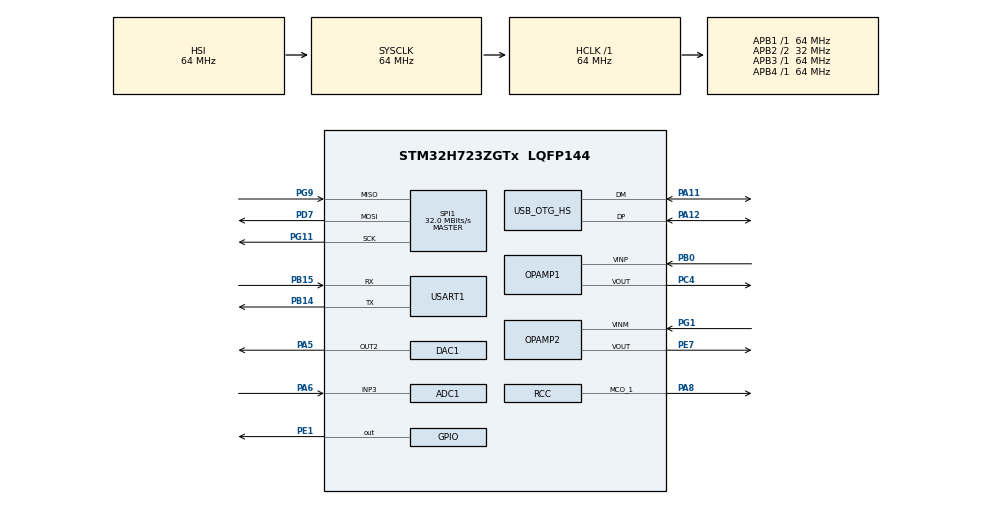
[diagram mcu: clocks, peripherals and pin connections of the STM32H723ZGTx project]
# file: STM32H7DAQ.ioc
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ADC1.Channel-1\#ChannelRegularConversion=ADC_CHANNEL_3
ADC1.ContinuousConvMode=DISABLE
ADC1.ConversionDataManagement=ADC_CONVERSIONDATA_DMA_CIRCULAR
ADC1.EOCSelection=ADC_EOC_SINGLE_CONV
ADC1.EnableAnalogWatchDog1=false
ADC1.EnableAnalogWatchDog2=false
ADC1.EnableInjectedConversion=DISABLE
ADC1.ExternalTrigConv=ADC_EXTERNALTRIG_T1_TRGO
ADC1.NbrOfConversion=1
ADC1.NbrOfConversionFlag=1
ADC1.OffsetNumber-1\#ChannelRegularConversion=ADC_OFFSET_NONE
ADC1.OffsetSignedSaturation-1\#ChannelRegularConversion=DISABLE
ADC1.Rank-1\#ChannelRegularConversion=1
ADC1.Resolution=ADC_RESOLUTION_12B
ADC1.SamplingTime-1\#ChannelRegularConversion=ADC_SAMPLETIME_32CYCLES_5
ADC1.master=1
CORTEX_M7.default_mode_Activation=1
DAC1.DAC_Channel-DAC_OUT1_Int=DAC_CHANNEL_1
DAC1.DAC_Channel-DAC_OUT2_ExtAndInt=DAC_CHANNEL_2
Dma.ADC1.0.Direction=DMA_PERIPH_TO_MEMORY
Dma.ADC1.0.EventEnable=ENABLE
Dma.ADC1.0.FIFOMode=DMA_FIFOMODE_DISABLE
Dma.ADC1.0.Instance=DMA1_Stream1
Dma.ADC1.0.MemDataAlignment=DMA_MDATAALIGN_HALFWORD
Dma.ADC1.0.MemInc=DMA_MINC_ENABLE
Dma.ADC1.0.Mode=DMA_CIRCULAR
Dma.ADC1.0.PeriphDataAlignment=DMA_PDATAALIGN_HALFWORD
Dma.ADC1.0.PeriphInc=DMA_PINC_DISABLE
Dma.ADC1.0.Polarity=HAL_DMAMUX_REQ_GEN_RISING
Dma.ADC1.0.Priority=DMA_PRIORITY_LOW
Dma.ADC1.0.RequestNumber=1
Dma.ADC1.0.SignalID=NONE
Dma.ADC1.0.SyncEnable=DISABLE
Dma.ADC1.0.SyncPolarity=HAL_DMAMUX_SYNC_NO_EVENT
Dma.ADC1.0.SyncRequestNumber=1
Dma.ADC1.0.SyncSignalID=NONE
Dma.Request0=ADC1
Mcu.Family=STM32H7
Mcu.Name=STM32H723ZGTx
Mcu.Package=LQFP144
NVIC.ADC_IRQn=true\:0\:0\:false\:false\:true\:true\:true\:true
NVIC.DMA1_Stream1_IRQn=true\:0\:0\:false\:false\:true\:false\:true\:true
NVIC.DMAMUX1_OVR_IRQn=true\:0\:0\:false\:false\:true\:false\:true\:true
NVIC.OTG_HS_IRQn=true\:0\:0\:false\:false\:true\:false\:true\:true
NVIC.PriorityGroup=NVIC_PRIORITYGROUP_4
NVIC.TIM1_TRG_COM_IRQn=true\:0\:0\:false\:false\:true\:true\:true\:true
NVIC.TIM2_IRQn=true\:0\:0\:false\:false\:true\:true\:true\:true
NVIC.TIM4_IRQn=true\:0\:0\:false\:false\:true\:true\:true\:true
OPAMP1.PowerMode=OPAMP_POWERMODE_HIGHSPEED
OPAMP2.PowerMode=OPAMP_POWERMODE_HIGHSPEED
PA11.Mode=Device_Only_FS
PA11.Signal=USB_OTG_HS_DM
PA12.Mode=Device_Only_FS
PA12.Signal=USB_OTG_HS_DP
PA13(JTMS/SWDIO).Mode=Serial_Wire
PA13(JTMS/SWDIO).Signal=DEBUG_JTMS-SWDIO
PA14(JTCK/SWCLK).Mode=Serial_Wire
PA14(JTCK/SWCLK).Signal=DEBUG_JTCK-SWCLK
PA5.Signal=COMP_DAC12_group
PA6.Signal=ADCx_INP3
PA8.Mode=Clock-out-1
PA8.Signal=RCC_MCO_1
PB0.Mode=Follower
PB0.Signal=OPAMP1_VINP
PB14.Mode=Asynchronous
PB14.Signal=USART1_TX
PB15.Mode=Asynchronous
PB15.Signal=USART1_RX
PC4.Signal=SharedAnalog_PC4
PD7.Mode=Full_Duplex_Master
PD7.Signal=SPI1_MOSI
PE1.Signal=GPIO_Output
PE7.Mode=PGA Connected-INVERTINGINPUT_IO0_BIAS-DAC_OUT2-INP
PE7.Signal=OPAMP2_VOUT
PG1.Mode=PGA Connected-INVERTINGINPUT_IO0_BIAS-DAC_OUT2-INP
PG1.Signal=OPAMP2_VINM
PG11.Mode=Full_Duplex_Master
PG11.Signal=SPI1_SCK
PG9.Mode=Full_Duplex_Master
PG9.Signal=SPI1_MISO
ProjectManager.HeapSize=0x200
ProjectManager.StackSize=0x400
ProjectManager.TargetToolchain=STM32CubeIDE
RCC.ADCFreq_Value=38400000
RCC.APB1Freq_Value=64000000
RCC.APB2Freq_Value=32000000
RCC.APB3Freq_Value=64000000
RCC.APB4Freq_Value=64000000
RCC.CortexFreq_Value=64000000
RCC.D2PPRE2=RCC_APB2_DIV2
RCC.DIVM1=1
RCC.DIVM2=1
RCC.DIVN1=48
RCC.DIVN2=48
RCC.DIVP2=5
RCC.DIVQ1=3
RCC.HCLKFreq_Value=64000000
RCC.PLL2FRACN=0
RCC.PLL3FRACN=0
RCC.PLLFRACN=0
RCC.PLLSourceVirtual=RCC_PLLSOURCE_CSI
RCC.SYSCLKFreq_VALUE=64000000
RCC.USBCLockSelection=RCC_USBCLKSOURCE_HSI48
RCC.USBFreq_Value=48000000
SH.ADCx_INP3.0=ADC1_INP3,IN3-Single-Ended
SH.COMP_DAC12_group.0=DAC1_OUT2,DAC_OUT2_ExtAndInt
SH.SharedAnalog_PC4.0=ADC1_INP4
SH.SharedAnalog_PC4.1=OPAMP1_VOUT,Follower
SPI1.CalculateBaudRate=32.0 MBits/s
SPI1.Direction=SPI_DIRECTION_2LINES
SPI1.Mode=SPI_MODE_MASTER
SPI1.VirtualType=VM_MASTER
TIM1.AutoReloadPreload=TIM_AUTORELOAD_PRELOAD_ENABLE
TIM1.Period=40-1
TIM1.Prescaler=80-1
TIM1.TIM_MasterOutputTrigger=TIM_TRGO_UPDATE
TIM1.TIM_MasterOutputTrigger2=TIM_TRGO2_ENABLE
TIM2.AutoReloadPreload=TIM_AUTORELOAD_PRELOAD_ENABLE
TIM2.Period=1
TIM2.Prescaler=8-1
TIM2.TIM_MasterOutputTrigger=TIM_TRGO_UPDATE
TIM4.AutoReloadPreload=TIM_AUTORELOAD_PRELOAD_ENABLE
TIM4.Period=2000
TIM4.Prescaler=8-1
TIM4.TIM_MasterOutputTrigger=TIM_TRGO_UPDATE
USART1.VirtualMode-Asynchronous=VM_ASYNC
USB_DEVICE.CLASS_NAME_HS=CDC
USB_DEVICE.USBD_DEBUG_LEVEL=3
USB_DEVICE.VirtualMode=Cdc
USB_DEVICE.VirtualModeHS=Cdc_HS
USB_OTG_HS.VirtualMode-Device_Only_FS=Device_Only_FS
VP_DAC1_VS_DACI1.Mode=DAC_OUT1_Int
VP_FMAC_VS_FMAC.Mode=FMAC_Activate
VP_MEMORYMAP_VS_MEMORYMAP.Mode=CurAppReg
VP_RCC_USB.Mode=USB_HS
VP_TIM12_VS_ClockSourceITR.Mode=TriggerSource_ITR0
VP_TIM12_VS_ControllerModeClock.Mode=Clock Mode
VP_TIM1_VS_ClockSourceINT.Mode=Internal
VP_TIM2_VS_ClockSourceINT.Mode=Internal
VP_TIM4_VS_ClockSourceINT.Mode=Internal
VP_USB_DEVICE_VS_USB_DEVICE_CDC_HS.Mode=CDC_HS
VREF+.Mode=InternalMode
VREF+.Signal=VREFBUF_OUT
board=custom

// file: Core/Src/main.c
/* USER CODE BEGIN Header */
/**
  ******************************************************************************
  * @file           : main.c
  * @brief          : Main program body
  ******************************************************************************
  * @attention
  *
  * Copyright (c) 2025 STMicroelectronics.
  * All rights reserved.
  *
  * This software is licensed under terms that can be found in the LICENSE file
  * in the root directory of this software component.
  * If no LICENSE file comes with this software, it is provided AS-IS.
  *
  ******************************************************************************
  */
/* USER CODE END Header */
#include "main.h"
#include "usb_device.h"

/* USER CODE BEGIN Includes */
#include "adc.h"
#include "dac.h"
#include "gpio.h"
#include "opamp.h"
#include "rcc.h"
#include "spi.h"
#include "system.h"
#include "timer.h"
#include "uart.h"
#include "usb_vcp.h"

#include "ada4254.h"
#include "analogIn.h"
#include "commandInterpreter.h"
#include "opcodes.h"
#include "pinMaping.h"
/* USER CODE END Includes */

/* USER CODE BEGIN PTD */
/*__attribute__((section(".ram2")))  DMA_BUFFER*/volatile AnalogOutCHStruct analogOutAChannels[2];
/*__attribute__((section(".ram2")))  DMA_BUFFER*/volatile AnalogOutCHStruct analogOutBChannels[2];
extern AnalogInCHStruct analogInAChannels[8];
extern AnalogInCHStruct analogInBChannels[8];
/* USER CODE END PTD */

ADC_HandleTypeDef hadc1;
DMA_HandleTypeDef hdma_adc1;

DAC_HandleTypeDef hdac1;

FMAC_HandleTypeDef hfmac;

OPAMP_HandleTypeDef hopamp1;
OPAMP_HandleTypeDef hopamp2;

SPI_HandleTypeDef hspi1;

TIM_HandleTypeDef htim1;
TIM_HandleTypeDef htim2;
TIM_HandleTypeDef htim4;
TIM_HandleTypeDef htim12;

UART_HandleTypeDef huart1;

/* USER CODE BEGIN PV */
int isADCFinished = 0;
int sampleCounter = 0;
uint16_t packetCounter = 0;

uint16_t ADC_VAL[4];

/* USER CODE END PV */

void SystemClock_Config(void);
static void MPU_Config(void);
static void MX_GPIO_Init(void);
static void MX_DMA_Init(void);
static void MX_ADC1_Init(void);
static void MX_SPI1_Init(void);
static void MX_TIM12_Init(void);
static void MX_FMAC_Init(void);
static void MX_TIM1_Init(void);
static void MX_TIM2_Init(void);
static void MX_TIM4_Init(void);
static void MX_DAC1_Init(void);
static void MX_OPAMP2_Init(void);
static void MX_USART1_UART_Init(void);
static void MX_OPAMP1_Init(void);
/* USER CODE BEGIN PFP */
static void ADC_Calibrate(ADC_HandleTypeDef* hadc);
/* USER CODE END PFP */

/* USER CODE BEGIN 0 */

/*
void HAL_ADC_ConvCpltCallback(ADC_HandleTypeDef* hadc)
{
	if (sampleCounter >= 1000) {
		HAL_GPIO_TogglePin(GPIOE, GPIO_PIN_1);
		sampleCounter = 0;
	}
	if (hadc==&hadc1) {
		AnalogInHandler(ANALOG_IN_BLOCK_A);
	}
	sampleCounter++;
	//HAL_ADC_Stop_IT(&hadc1);
	//printf("Done");

} */

void HAL_DAC_ErrorCallbackCh1(DAC_HandleTypeDef *hdac)
{
	HAL_GPIO_TogglePin(GPIOB, GPIO_PIN_0);
}

/**
  * @brief	This function initializes the Analog OUT Channel:
  * 		- Initialize structures
  * 		- Initializes DAC DMA Channels
  * @param	None
  * @return	None
  */

void AnalogOutInit() {

	uint16_t i;
	for(i = 0; i < ANALOG_OUT_BUFFER_SIZE; i++) {
		analogOutAChannels[0].buffer[i] = 2048;
		analogOutAChannels[1].buffer[i] = 2048;
		analogOutBChannels[0].buffer[i] = 2048;
		analogOutBChannels[1].buffer[i] = 2048;
	}

	analogOutAChannels[0].bufferLength = 1;
	analogOutAChannels[1].bufferLength = 1;
	analogOutBChannels[0].bufferLength = 1;
	analogOutBChannels[1].bufferLength = 1;

}

/**
  * @brief	This function sets an Analog OUT Channel
  * @param	anBlock: Which analog block, A or B
  * @param	channel: Which channel to configure
  * @param	config: The configuration for the analog OUT channel, AnalogOutCHStruct
  * @return	None
  */
void AnalogOutConfigChannel(uint8_t anBlock, uint8_t channel, AnalogOutCHStruct config) {

	if(anBlock == ANALOG_OUT_BLOCK_A) {
		// Early return if freq = 0. Stops a divide by 0 error
		analogOutAChannels[channel - 1] = config;

		if(channel == 0x01) {
			if (config.frequency==0)
			{
				if (LL_DAC_IsEnabled(DAC1, LL_DAC_CHANNEL_1)==1) HAL_DAC_Stop_DMA(&hdac1, DAC_CHANNEL_1);
				return;
			}
			TIM2SetFreq(config.frequency);
			if (LL_DAC_IsEnabled(DAC1, LL_DAC_CHANNEL_1)==0)
			{
				HAL_DAC_Start_DMA(&hdac1, DAC_CHANNEL_1, (uint32_t) &analogOutAChannels[0].buffer, analogOutAChannels[0].bufferLength, DAC_ALIGN_12B_R);
			}
		}
		else if(channel == 0x02) {
			if (config.frequency==0)
			{
				if (LL_DAC_IsEnabled(DAC1, LL_DAC_CHANNEL_2)==1) HAL_DAC_Stop_DMA(&hdac1, DAC_CHANNEL_2);
				return;
			}
			TIM4SetFreq(config.frequency);
			if (LL_DAC_IsEnabled(DAC1, LL_DAC_CHANNEL_1)==0)
			{
				HAL_DAC_Start_DMA(&hdac1, DAC_CHANNEL_2, (uint32_t) &analogOutAChannels[1].buffer, analogOutAChannels[1].bufferLength, DAC_ALIGN_12B_R);
			}
		}
	}
}

//void HAL_DAC_ConvCpltCallbackCh1(DAC_HandleTypeDef *hdac)
//{
//	HAL_GPIO_TogglePin(GPIOB, GPIO_PIN_0);
//
//}
/* USER CODE END 0 */

int main(void)
{

  /* MPU Configuration--------------------------------------------------------*/
  MPU_Config();

  /* MCU Configuration--------------------------------------------------------*/

  /* Reset of all peripherals, Initializes the Flash interface and the Systick. */
  HAL_Init();

  /* Configure the system clock */
  SystemClock_Config();

  /* USER CODE BEGIN SysInit */
  //USBVCPInit();
  /* USER CODE END SysInit */

  /* Initialize all configured peripherals */
  MX_GPIO_Init();
  MX_DMA_Init();
  MX_USB_DEVICE_Init();
  MX_ADC1_Init();
  MX_SPI1_Init();
  MX_TIM12_Init();
  MX_FMAC_Init();
  MX_TIM1_Init();
  MX_TIM2_Init();
  MX_TIM4_Init();
  MX_DAC1_Init();
  MX_OPAMP2_Init();
  MX_USART1_UART_Init();
  MX_OPAMP1_Init();
  /* USER CODE BEGIN 2 */
  //Configure the system clock
  //BSP_LED_Init(LED_GREEN);
  //BSP_LED_Init(LED_YELLOW);
  //BSP_LED_Init(LED_RED);
  //HAL_GPIO_WritePin(GPIOB, GPIO_PIN_14, GPIO_PIN_RESET);
  //SystemClockInit();
  	//SystemTickInit();

  	//Initialize all configured peripherals
  	//GPIOInit();
  	//USBVCPInit();
  	//SystemVrefEnable(VRef_2048);

  	//------------------------------------------//
  	//			Init Digital Block				//
  	//------------------------------------------//
  	//TIM1Init();

  	//------------------------------------------//
  	//			Init Analog Block A				//
  	//------------------------------------------//
  	//Init SPI for Analog A Block
  	//SPI1Init();

  	//Init ADC and ADC trigger Timer
  	//TIM8Init();
  	//ADC1Init();

  	//Init DAC and DAC trigger Timer
  	//TIM6Init();
  	//TIM4Init();
  	//DAC1Init();

  	//Start ADC Conversions
  	//ADC1Start();
  	//------------------------------------------//

  	//------------------------------------------//
  	//			Init Analog Block B				//
  	//------------------------------------------//
  	//Init SPI for Analog B Block
  	//SPI3Init();

  	//Init ADC and ADC trigger Timer
  	//TIM3Init();
  	//ADC2Init();

  	//Init DAC and DAC trigger Timer
  	//TIM7Init();
  	//TIM15Init();
  	//DAC4Init();
  	//OpAmp4Init();
  	//OpAmp5Init();

  	//Start ADC Conversions
  	//ADC2Start();
  	//------------------------------------------//

  	//Possible Init External peripheral interfaces
  //	SPI2Init();		//SPI to External Interface
  //	UART1Init();

  	//Give time for all to init, ADA4254 auto-calibration for example
  	Delay(1000);

  	HAL_TIM_Base_Start(&htim1);
  	HAL_TIM_Base_Start(&htim2);
  	HAL_TIM_Base_Start(&htim4);
  	HAL_ADC_Start_DMA(&hadc1, (uint32_t*)analogInAChannels[0].buffer, ANALOG_OUT_BUFFER_SIZE);
  	HAL_ADC_Start_IT(&hadc1);
  	HAL_OPAMP_Start(&hopamp2);

  	//HAL_DAC_Start(&hdac1, DAC_CHANNEL_1);
  	//HAL_DAC_SetValue(&hdac1, DAC_CHANNEL_1, DAC_ALIGN_12B_R, 1000);

  	//ADC_Calibrate(&hadc1);
  	//Init Analog Channels
  	AnalogInInit();
  	AnalogOutInit();

  	//Init Digital Channels
  	//DigitalIOInit();

  	uint8_t isVCPConnected = 0;
  	uint8_t txUSBData[2060];
  	uint16_t rxLength;
  	uint8_t rxUSBData[2060];
  /* USER CODE END 2 */

  /* Infinite loop */
  while (1)
  {

    /* USER CODE BEGIN 3 */
	  //USB/AT Command Interpreter
	  		if(USBVCPRead(&rxUSBData[0], &rxLength) == 1) {
	  			CommandInterpreter(rxUSBData, rxLength, &hadc1, &htim1);
	  		}

	  		//This Sets the LED1 to the Virtual COM Connection state, LED is ON if connected
	  		if(USBVCPIsConnected()) {
	  			if(isVCPConnected == 0) {
	  				//First Connection, write welcome message
	  				isVCPConnected = 1;
	  				//HAL_GPIO_WritePin(GPIOB, GPIO_PIN_0, GPIO_PIN_SET);
	  			}
	  		}
	  		else {
	  			isVCPConnected = 0;
	  			//HAL_GPIO_WritePin(GPIOB, GPIO_PIN_0, GPIO_PIN_RESET);
	  		}
	  		GPIOWrite(GPIO_OUT_STATUS_LED, USBVCPIsConnected());

	  		//Check if USB TX is ready for new data
	  		if(USBVCPTXStatus() == 0x00) {
	  			//DAQ Command Packet format
	  			//[Opcode]  [Length]   [Payload]  [...]     [CRC]
	  			//[uin8_t] [uint16_t] [uint8_t * Length] [uint16_t]

	  			//DAQ Data Packet, Payload field:
	  			//[Channel]          [Samples]
	  			//[uint8_t] [uint8_t * 2 * (Length - 1)]

	  			uint16_t txUSBDataIndex = 0;
	  			uint8_t channel = 1;
	  			for(channel = 1; channel < 9; channel++) {
	  				uint16_t dataLength = AnalogInGetData(ANALOG_IN_BLOCK_A, channel, &txUSBData[txUSBDataIndex + 4], hadc1);
	  				if(dataLength != 0x00) {
	  					txUSBData[txUSBDataIndex++] = OPCODE_TX_ANALOG_IN_A;	//Set Opcode

	  					dataLength += 1;	//Add Channel indicator to payload length
	  					txUSBData[txUSBDataIndex++] = (dataLength >> 8);		//Set Packet Length
	  					txUSBData[txUSBDataIndex++] = (dataLength);				//Set Packet Length
	  					txUSBData[txUSBDataIndex++] = channel;					//Set Analog In Channel

	  					//Add payload
	  					txUSBDataIndex += dataLength;

	  					if (channel == 1) {
	  						// Add packetCounter in CRC
	  						txUSBData[txUSBDataIndex-1] = (packetCounter >> 8);
	  						txUSBDataIndex++;
	  						txUSBData[txUSBDataIndex-1] = (packetCounter);
	  						txUSBDataIndex++;
	  						packetCounter++;
	  					} else {

	  						//Add CRC
	  						txUSBData[txUSBDataIndex++] = 0x00;
	  						txUSBData[txUSBDataIndex++] = 0x00;
	  					}
	  				}

	  				dataLength = AnalogInGetData(ANALOG_IN_BLOCK_B, channel, &txUSBData[txUSBDataIndex + 4], hadc1);
	  				if(dataLength != 0x00) {
	  					txUSBData[txUSBDataIndex++] = OPCODE_TX_ANALOG_IN_B;	//Set Opcode

	  					dataLength += 1;	//Add Channel indicator to payload length
	  					txUSBData[txUSBDataIndex++] = (dataLength >> 8);		//Set Packet Length
	  					txUSBData[txUSBDataIndex++] = (dataLength);				//Set Packet Length
	  					txUSBData[txUSBDataIndex++] = channel;					//Set Analog In Channel

	  					//Add payload
	  					txUSBDataIndex += dataLength;

	  					//Add CRC
	  					txUSBData[txUSBDataIndex++] = 0x00;
	  					txUSBData[txUSBDataIndex++] = 0x00;
	  				}
	  			}

	  			if(txUSBDataIndex > 1) {
	  				USBVCPWrite(txUSBData, txUSBDataIndex);
	  			}
	  		}
  }
  /* USER CODE END 3 */
}

void SystemClock_Config(void)
{
  RCC_OscInitTypeDef RCC_OscInitStruct = {0};
  RCC_ClkInitTypeDef RCC_ClkInitStruct = {0};
  RCC_CRSInitTypeDef RCC_CRSInitStruct = {0};

  /** Supply configuration update enable
  */
  HAL_PWREx_ConfigSupply(PWR_LDO_SUPPLY);

  /** Configure the main internal regulator output voltage
  */
  __HAL_PWR_VOLTAGESCALING_CONFIG(PWR_REGULATOR_VOLTAGE_SCALE3);

  while(!__HAL_PWR_GET_FLAG(PWR_FLAG_VOSRDY)) {}

  /** Initializes the RCC Oscillators according to the specified parameters
  * in the RCC_OscInitTypeDef structure.
  */
  RCC_OscInitStruct.OscillatorType = RCC_OSCILLATORTYPE_HSI48|RCC_OSCILLATORTYPE_CSI
                              |RCC_OSCILLATORTYPE_HSI;
  RCC_OscInitStruct.HSIState = RCC_HSI_DIV1;
  RCC_OscInitStruct.HSICalibrationValue = 64;
  RCC_OscInitStruct.HSI48State = RCC_HSI48_ON;
  RCC_OscInitStruct.CSIState = RCC_CSI_ON;
  RCC_OscInitStruct.CSICalibrationValue = 16;
  RCC_OscInitStruct.PLL.PLLState = RCC_PLL_ON;
  RCC_OscInitStruct.PLL.PLLSource = RCC_PLLSOURCE_CSI;
  RCC_OscInitStruct.PLL.PLLM = 1;
  RCC_OscInitStruct.PLL.PLLN = 48;
  RCC_OscInitStruct.PLL.PLLP = 2;
  RCC_OscInitStruct.PLL.PLLQ = 3;
  RCC_OscInitStruct.PLL.PLLR = 2;
  RCC_OscInitStruct.PLL.PLLRGE = RCC_PLL1VCIRANGE_2;
  RCC_OscInitStruct.PLL.PLLVCOSEL = RCC_PLL1VCOWIDE;
  RCC_OscInitStruct.PLL.PLLFRACN = 0;
  if (HAL_RCC_OscConfig(&RCC_OscInitStruct) != HAL_OK)
  {
    Error_Handler();
  }

  /** Initializes the CPU, AHB and APB buses clocks
  */
  RCC_ClkInitStruct.ClockType = RCC_CLOCKTYPE_HCLK|RCC_CLOCKTYPE_SYSCLK
                              |RCC_CLOCKTYPE_PCLK1|RCC_CLOCKTYPE_PCLK2
                              |RCC_CLOCKTYPE_D3PCLK1|RCC_CLOCKTYPE_D1PCLK1;
  RCC_ClkInitStruct.SYSCLKSource = RCC_SYSCLKSOURCE_HSI;
  RCC_ClkInitStruct.SYSCLKDivider = RCC_SYSCLK_DIV1;
  RCC_ClkInitStruct.AHBCLKDivider = RCC_HCLK_DIV1;
  RCC_ClkInitStruct.APB3CLKDivider = RCC_APB3_DIV1;
  RCC_ClkInitStruct.APB1CLKDivider = RCC_APB1_DIV1;
  RCC_ClkInitStruct.APB2CLKDivider = RCC_APB2_DIV2;
  RCC_ClkInitStruct.APB4CLKDivider = RCC_APB4_DIV1;

  if (HAL_RCC_ClockConfig(&RCC_ClkInitStruct, FLASH_LATENCY_1) != HAL_OK)
  {
    Error_Handler();
  }
  HAL_RCC_MCOConfig(RCC_MCO1, RCC_MCO1SOURCE_HSI, RCC_MCODIV_1);

  /** Enable the SYSCFG APB clock
  */
  __HAL_RCC_CRS_CLK_ENABLE();

  /** Configures CRS
  */
  RCC_CRSInitStruct.Prescaler = RCC_CRS_SYNC_DIV1;
  RCC_CRSInitStruct.Source = RCC_CRS_SYNC_SOURCE_USB2;
  RCC_CRSInitStruct.Polarity = RCC_CRS_SYNC_POLARITY_RISING;
  RCC_CRSInitStruct.ReloadValue = __HAL_RCC_CRS_RELOADVALUE_CALCULATE(48000000,1000);
  RCC_CRSInitStruct.ErrorLimitValue = 34;
  RCC_CRSInitStruct.HSI48CalibrationValue = 32;

  HAL_RCCEx_CRSConfig(&RCC_CRSInitStruct);
}

static void MX_ADC1_Init(void)
{

  ADC_MultiModeTypeDef multimode = {0};
  ADC_ChannelConfTypeDef sConfig = {0};

  /* USER CODE BEGIN ADC1_Init 1 */
  /*
  hadc3.Instance = ADC3;
  hadc3.Init.ClockPrescaler = ADC_CLOCK_ASYNC_DIV1;
  hadc3.Init.Resolution = ADC_RESOLUTION_12B;
  hadc3.Init.DataAlign = ADC3_DATAALIGN_RIGHT;
  hadc3.Init.ScanConvMode = ADC_SCAN_DISABLE;
  hadc3.Init.EOCSelection = ADC_EOC_SINGLE_CONV;
  hadc3.Init.LowPowerAutoWait = DISABLE;
  hadc3.Init.ContinuousConvMode = DISABLE;
  hadc3.Init.NbrOfConversion = 1;
  hadc3.Init.DiscontinuousConvMode = DISABLE;
  hadc3.Init.ExternalTrigConv = ADC_EXTERNALTRIG_T4_TRGO;
  hadc3.Init.ExternalTrigConvEdge = ADC_EXTERNALTRIGCONVEDGE_RISING;
  hadc3.Init.DMAContinuousRequests = ENABLE;
  hadc3.Init.SamplingMode = ADC_SAMPLING_MODE_NORMAL;
  hadc3.Init.ConversionDataManagement = ADC_CONVERSIONDATA_DMA_CIRCULAR;
  hadc3.Init.Overrun = ADC_OVR_DATA_PRESERVED;
  hadc3.Init.LeftBitShift = ADC_LEFTBITSHIFT_NONE;
  hadc3.Init.OversamplingMode = DISABLE;
  hadc3.Init.Oversampling.Ratio = ADC3_OVERSAMPLING_RATIO_2;
  if (HAL_ADC_Init(&hadc3) != HAL_OK)
  {
    Error_Handler();
  } */
  /* USER CODE END ADC1_Init 1 */

  /** Common config
  */
  hadc1.Instance = ADC1;
  hadc1.Init.ClockPrescaler = ADC_CLOCK_ASYNC_DIV1;
  hadc1.Init.Resolution = ADC_RESOLUTION_12B;
  hadc1.Init.ScanConvMode = ADC_SCAN_DISABLE;
  hadc1.Init.EOCSelection = ADC_EOC_SINGLE_CONV;
  hadc1.Init.LowPowerAutoWait = DISABLE;
  hadc1.Init.ContinuousConvMode = DISABLE;
  hadc1.Init.NbrOfConversion = 1;
  hadc1.Init.DiscontinuousConvMode = DISABLE;
  hadc1.Init.ExternalTrigConv = ADC_EXTERNALTRIG_T1_TRGO;
  hadc1.Init.ExternalTrigConvEdge = ADC_EXTERNALTRIGCONVEDGE_RISING;
  hadc1.Init.ConversionDataManagement = ADC_CONVERSIONDATA_DMA_CIRCULAR;
  hadc1.Init.Overrun = ADC_OVR_DATA_PRESERVED;
  hadc1.Init.LeftBitShift = ADC_LEFTBITSHIFT_NONE;
  hadc1.Init.OversamplingMode = DISABLE;
  hadc1.Init.Oversampling.Ratio = 1;
  if (HAL_ADC_Init(&hadc1) != HAL_OK)
  {
    Error_Handler();
  }

  /** Configure the ADC multi-mode
  */
  multimode.Mode = ADC_MODE_INDEPENDENT;
  if (HAL_ADCEx_MultiModeConfigChannel(&hadc1, &multimode) != HAL_OK)
  {
    Error_Handler();
  }

  /** Configure Regular Channel
  */
  sConfig.Channel = ADC_CHANNEL_3;
  sConfig.Rank = ADC_REGULAR_RANK_1;
  sConfig.SamplingTime = ADC_SAMPLETIME_32CYCLES_5;
  sConfig.SingleDiff = ADC_SINGLE_ENDED;
  sConfig.OffsetNumber = ADC_OFFSET_NONE;
  sConfig.Offset = 0;
  sConfig.OffsetSignedSaturation = DISABLE;
  if (HAL_ADC_ConfigChannel(&hadc1, &sConfig) != HAL_OK)
  {
    Error_Handler();
  }

}

static void MX_DAC1_Init(void)
{

  DAC_ChannelConfTypeDef sConfig = {0};

  /** DAC Initialization
  */
  hdac1.Instance = DAC1;
  if (HAL_DAC_Init(&hdac1) != HAL_OK)
  {
    Error_Handler();
  }

  /** DAC channel OUT1 config
  */
  sConfig.DAC_SampleAndHold = DAC_SAMPLEANDHOLD_DISABLE;
  sConfig.DAC_Trigger = DAC_TRIGGER_NONE;
  sConfig.DAC_OutputBuffer = DAC_OUTPUTBUFFER_DISABLE;
  sConfig.DAC_ConnectOnChipPeripheral = DAC_CHIPCONNECT_ENABLE;
  sConfig.DAC_UserTrimming = DAC_TRIMMING_FACTORY;
  if (HAL_DAC_ConfigChannel(&hdac1, &sConfig, DAC_CHANNEL_1) != HAL_OK)
  {
    Error_Handler();
  }

  /** DAC channel OUT2 config
  */
  sConfig.DAC_OutputBuffer = DAC_OUTPUTBUFFER_ENABLE;
  if (HAL_DAC_ConfigChannel(&hdac1, &sConfig, DAC_CHANNEL_2) != HAL_OK)
  {
    Error_Handler();
  }

}

static void MX_FMAC_Init(void)
{

  hfmac.Instance = FMAC;
  if (HAL_FMAC_Init(&hfmac) != HAL_OK)
  {
    Error_Handler();
  }

}

static void MX_OPAMP1_Init(void)
{

  hopamp1.Instance = OPAMP1;
  hopamp1.Init.Mode = OPAMP_FOLLOWER_MODE;
  hopamp1.Init.NonInvertingInput = OPAMP_NONINVERTINGINPUT_IO0;
  hopamp1.Init.PowerMode = OPAMP_POWERMODE_HIGHSPEED;
  hopamp1.Init.UserTrimming = OPAMP_TRIMMING_FACTORY;
  if (HAL_OPAMP_Init(&hopamp1) != HAL_OK)
  {
    Error_Handler();
  }

}

static void MX_OPAMP2_Init(void)
{

  hopamp2.Instance = OPAMP2;
  hopamp2.Init.Mode = OPAMP_PGA_MODE;
  hopamp2.Init.NonInvertingInput = OPAMP_NONINVERTINGINPUT_DAC_CH;
  hopamp2.Init.PowerMode = OPAMP_POWERMODE_HIGHSPEED;
  hopamp2.Init.PgaConnect = OPAMP_PGA_CONNECT_INVERTINGINPUT_IO0_BIAS;
  hopamp2.Init.PgaGain = OPAMP_PGA_GAIN_2_OR_MINUS_1;
  hopamp2.Init.UserTrimming = OPAMP_TRIMMING_FACTORY;
  if (HAL_OPAMP_Init(&hopamp2) != HAL_OK)
  {
    Error_Handler();
  }

}

static void MX_SPI1_Init(void)
{

  /* SPI1 parameter configuration*/
  hspi1.Instance = SPI1;
  hspi1.Init.Mode = SPI_MODE_MASTER;
  hspi1.Init.Direction = SPI_DIRECTION_2LINES;
  hspi1.Init.DataSize = SPI_DATASIZE_4BIT;
  hspi1.Init.CLKPolarity = SPI_POLARITY_LOW;
  hspi1.Init.CLKPhase = SPI_PHASE_1EDGE;
  hspi1.Init.NSS = SPI_NSS_SOFT;
  hspi1.Init.BaudRatePrescaler = SPI_BAUDRATEPRESCALER_2;
  hspi1.Init.FirstBit = SPI_FIRSTBIT_MSB;
  hspi1.Init.TIMode = SPI_TIMODE_DISABLE;
  hspi1.Init.CRCCalculation = SPI_CRCCALCULATION_DISABLE;
  hspi1.Init.CRCPolynomial = 0x0;
  hspi1.Init.NSSPMode = SPI_NSS_PULSE_ENABLE;
  hspi1.Init.NSSPolarity = SPI_NSS_POLARITY_LOW;
  hspi1.Init.FifoThreshold = SPI_FIFO_THRESHOLD_01DATA;
  hspi1.Init.TxCRCInitializationPattern = SPI_CRC_INITIALIZATION_ALL_ZERO_PATTERN;
  hspi1.Init.RxCRCInitializationPattern = SPI_CRC_INITIALIZATION_ALL_ZERO_PATTERN;
  hspi1.Init.MasterSSIdleness = SPI_MASTER_SS_IDLENESS_00CYCLE;
  hspi1.Init.MasterInterDataIdleness = SPI_MASTER_INTERDATA_IDLENESS_00CYCLE;
  hspi1.Init.MasterReceiverAutoSusp = SPI_MASTER_RX_AUTOSUSP_DISABLE;
  hspi1.Init.MasterKeepIOState = SPI_MASTER_KEEP_IO_STATE_DISABLE;
  hspi1.Init.IOSwap = SPI_IO_SWAP_DISABLE;
  if (HAL_SPI_Init(&hspi1) != HAL_OK)
  {
    Error_Handler();
  }

}

static void MX_TIM1_Init(void)
{

  TIM_ClockConfigTypeDef sClockSourceConfig = {0};
  TIM_MasterConfigTypeDef sMasterConfig = {0};

  htim1.Instance = TIM1;
  htim1.Init.Prescaler = 80-1;
  htim1.Init.CounterMode = TIM_COUNTERMODE_UP;
  htim1.Init.Period = 40-1;
  htim1.Init.ClockDivision = TIM_CLOCKDIVISION_DIV1;
  htim1.Init.RepetitionCounter = 0;
  htim1.Init.AutoReloadPreload = TIM_AUTORELOAD_PRELOAD_ENABLE;
  if (HAL_TIM_Base_Init(&htim1) != HAL_OK)
  {
    Error_Handler();
  }
  sClockSourceConfig.ClockSource = TIM_CLOCKSOURCE_INTERNAL;
  if (HAL_TIM_ConfigClockSource(&htim1, &sClockSourceConfig) != HAL_OK)
  {
    Error_Handler();
  }
  sMasterConfig.MasterOutputTrigger = TIM_TRGO_UPDATE;
  sMasterConfig.MasterOutputTrigger2 = TIM_TRGO2_ENABLE;
  sMasterConfig.MasterSlaveMode = TIM_MASTERSLAVEMODE_DISABLE;
  if (HAL_TIMEx_MasterConfigSynchronization(&htim1, &sMasterConfig) != HAL_OK)
  {
    Error_Handler();
  }

}

static void MX_TIM2_Init(void)
{

  TIM_ClockConfigTypeDef sClockSourceConfig = {0};
  TIM_MasterConfigTypeDef sMasterConfig = {0};

  htim2.Instance = TIM2;
  htim2.Init.Prescaler = 8-1;
  htim2.Init.CounterMode = TIM_COUNTERMODE_UP;
  htim2.Init.Period = 1;
  htim2.Init.ClockDivision = TIM_CLOCKDIVISION_DIV1;
  htim2.Init.AutoReloadPreload = TIM_AUTORELOAD_PRELOAD_ENABLE;
  if (HAL_TIM_Base_Init(&htim2) != HAL_OK)
  {
    Error_Handler();
  }
  sClockSourceConfig.ClockSource = TIM_CLOCKSOURCE_INTERNAL;
  if (HAL_TIM_ConfigClockSource(&htim2, &sClockSourceConfig) != HAL_OK)
  {
    Error_Handler();
  }
  sMasterConfig.MasterOutputTrigger = TIM_TRGO_UPDATE;
  sMasterConfig.MasterSlaveMode = TIM_MASTERSLAVEMODE_DISABLE;
  if (HAL_TIMEx_MasterConfigSynchronization(&htim2, &sMasterConfig) != HAL_OK)
  {
    Error_Handler();
  }

}

static void MX_TIM4_Init(void)
{

  TIM_ClockConfigTypeDef sClockSourceConfig = {0};
  TIM_MasterConfigTypeDef sMasterConfig = {0};

  htim4.Instance = TIM4;
  htim4.Init.Prescaler = 8-1;
  htim4.Init.CounterMode = TIM_COUNTERMODE_UP;
  htim4.Init.Period = 2000;
  htim4.Init.ClockDivision = TIM_CLOCKDIVISION_DIV1;
  htim4.Init.AutoReloadPreload = TIM_AUTORELOAD_PRELOAD_ENABLE;
  if (HAL_TIM_Base_Init(&htim4) != HAL_OK)
  {
    Error_Handler();
  }
  sClockSourceConfig.ClockSource = TIM_CLOCKSOURCE_INTERNAL;
  if (HAL_TIM_ConfigClockSource(&htim4, &sClockSourceConfig) != HAL_OK)
  {
    Error_Handler();
  }
  sMasterConfig.MasterOutputTrigger = TIM_TRGO_UPDATE;
  sMasterConfig.MasterSlaveMode = TIM_MASTERSLAVEMODE_DISABLE;
  if (HAL_TIMEx_MasterConfigSynchronization(&htim4, &sMasterConfig) != HAL_OK)
  {
    Error_Handler();
  }

}

static void MX_TIM12_Init(void)
{

  TIM_SlaveConfigTypeDef sSlaveConfig = {0};
  TIM_MasterConfigTypeDef sMasterConfig = {0};

  htim12.Instance = TIM12;
  htim12.Init.Prescaler = 0;
  htim12.Init.CounterMode = TIM_COUNTERMODE_UP;
  htim12.Init.Period = 65535;
  htim12.Init.ClockDivision = TIM_CLOCKDIVISION_DIV1;
  htim12.Init.AutoReloadPreload = TIM_AUTORELOAD_PRELOAD_DISABLE;
  if (HAL_TIM_Base_Init(&htim12) != HAL_OK)
  {
    Error_Handler();
  }
  sSlaveConfig.SlaveMode = TIM_SLAVEMODE_EXTERNAL1;
  sSlaveConfig.InputTrigger = TIM_TS_ITR0;
  if (HAL_TIM_SlaveConfigSynchro(&htim12, &sSlaveConfig) != HAL_OK)
  {
    Error_Handler();
  }
  sMasterConfig.MasterOutputTrigger = TIM_TRGO_RESET;
  sMasterConfig.MasterSlaveMode = TIM_MASTERSLAVEMODE_DISABLE;
  if (HAL_TIMEx_MasterConfigSynchronization(&htim12, &sMasterConfig) != HAL_OK)
  {
    Error_Handler();
  }

}

static void MX_USART1_UART_Init(void)
{

  huart1.Instance = USART1;
  huart1.Init.BaudRate = 115200;
  huart1.Init.WordLength = UART_WORDLENGTH_8B;
  huart1.Init.StopBits = UART_STOPBITS_1;
  huart1.Init.Parity = UART_PARITY_NONE;
  huart1.Init.Mode = UART_MODE_TX_RX;
  huart1.Init.HwFlowCtl = UART_HWCONTROL_NONE;
  huart1.Init.OverSampling = UART_OVERSAMPLING_16;
  huart1.Init.OneBitSampling = UART_ONE_BIT_SAMPLE_DISABLE;
  huart1.Init.ClockPrescaler = UART_PRESCALER_DIV1;
  huart1.AdvancedInit.AdvFeatureInit = UART_ADVFEATURE_NO_INIT;
  if (HAL_UART_Init(&huart1) != HAL_OK)
  {
    Error_Handler();
  }
  if (HAL_UARTEx_SetTxFifoThreshold(&huart1, UART_TXFIFO_THRESHOLD_1_8) != HAL_OK)
  {
    Error_Handler();
  }
  if (HAL_UARTEx_SetRxFifoThreshold(&huart1, UART_RXFIFO_THRESHOLD_1_8) != HAL_OK)
  {
    Error_Handler();
  }
  if (HAL_UARTEx_DisableFifoMode(&huart1) != HAL_OK)
  {
    Error_Handler();
  }

}

static void MX_DMA_Init(void)
{

  /* DMA controller clock enable */
  __HAL_RCC_DMA1_CLK_ENABLE();

  /* DMA interrupt init */
  /* DMA1_Stream1_IRQn interrupt configuration */
  HAL_NVIC_SetPriority(DMA1_Stream1_IRQn, 0, 0);
  HAL_NVIC_EnableIRQ(DMA1_Stream1_IRQn);
  /* DMAMUX1_OVR_IRQn interrupt configuration */
  HAL_NVIC_SetPriority(DMAMUX1_OVR_IRQn, 0, 0);
  HAL_NVIC_EnableIRQ(DMAMUX1_OVR_IRQn);

}

static void MX_GPIO_Init(void)
{
  GPIO_InitTypeDef GPIO_InitStruct = {0};

  /* GPIO Ports Clock Enable */
  __HAL_RCC_GPIOA_CLK_ENABLE();
  __HAL_RCC_GPIOC_CLK_ENABLE();
  __HAL_RCC_GPIOB_CLK_ENABLE();
  __HAL_RCC_GPIOG_CLK_ENABLE();
  __HAL_RCC_GPIOE_CLK_ENABLE();
  __HAL_RCC_GPIOD_CLK_ENABLE();

  /*Configure GPIO pin Output Level */
  HAL_GPIO_WritePin(GPIOE, GPIO_PIN_1, GPIO_PIN_RESET);

  /*Configure GPIO pin : PA8 */
  GPIO_InitStruct.Pin = GPIO_PIN_8;
  GPIO_InitStruct.Mode = GPIO_MODE_AF_PP;
  GPIO_InitStruct.Pull = GPIO_NOPULL;
  GPIO_InitStruct.Speed = GPIO_SPEED_FREQ_LOW;
  GPIO_InitStruct.Alternate = GPIO_AF0_MCO;
  HAL_GPIO_Init(GPIOA, &GPIO_InitStruct);

  /*Configure GPIO pin : PE1 */
  GPIO_InitStruct.Pin = GPIO_PIN_1;
  GPIO_InitStruct.Mode = GPIO_MODE_OUTPUT_PP;
  GPIO_InitStruct.Pull = GPIO_NOPULL;
  GPIO_InitStruct.Speed = GPIO_SPEED_FREQ_LOW;
  HAL_GPIO_Init(GPIOE, &GPIO_InitStruct);

}

/* USER CODE BEGIN 4 */
void ADC_Calibrate(ADC_HandleTypeDef* hadc) {
  // 1. Ensure ADC is disabled
  HAL_ADC_Stop(hadc);
  HAL_SYSCFG_VREFBUF_VoltageScalingConfig(SYSCFG_VREFBUF_VOLTAGE_SCALE0);
  HAL_SYSCFG_EnableVREFBUF();

  // 2. Start calibration
  HAL_ADCEx_Calibration_Start(hadc, ADC_CALIB_OFFSET, ADC_SINGLE_ENDED);

  // 3. Wait for completion
  //while(HAL_ADCEx_Calibration_GetValue(hadc,ADC_SINGLE_ENDED) != HAL_OK);
  HAL_ADC_Start(hadc);
}

/* USER CODE END 4 */

 /* MPU Configuration */

void MPU_Config(void)
{
  MPU_Region_InitTypeDef MPU_InitStruct = {0};

  /* Disables the MPU */
  HAL_MPU_Disable();

  /** Initializes and configures the Region and the memory to be protected
  */
  MPU_InitStruct.Enable = MPU_REGION_ENABLE;
  MPU_InitStruct.Number = MPU_REGION_NUMBER0;
  MPU_InitStruct.BaseAddress = 0x0;
  MPU_InitStruct.Size = MPU_REGION_SIZE_4GB;
  MPU_InitStruct.SubRegionDisable = 0x87;
  MPU_InitStruct.TypeExtField = MPU_TEX_LEVEL0;
  MPU_InitStruct.AccessPermission = MPU_REGION_NO_ACCESS;
  MPU_InitStruct.DisableExec = MPU_INSTRUCTION_ACCESS_DISABLE;
  MPU_InitStruct.IsShareable = MPU_ACCESS_SHAREABLE;
  MPU_InitStruct.IsCacheable = MPU_ACCESS_NOT_CACHEABLE;
  MPU_InitStruct.IsBufferable = MPU_ACCESS_NOT_BUFFERABLE;

  HAL_MPU_ConfigRegion(&MPU_InitStruct);
  /* Enables the MPU */
  HAL_MPU_Enable(MPU_PRIVILEGED_DEFAULT);

}

void Error_Handler(void)
{
  __disable_irq();
  while (1)
  {
  }
}
